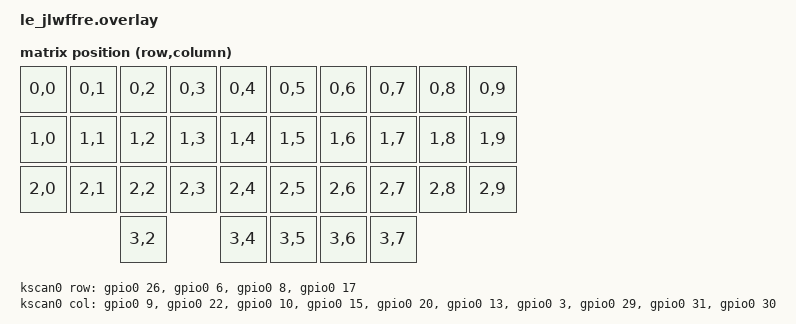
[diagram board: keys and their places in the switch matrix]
/*
 * SPDX-License-Identifier: MIT
 */

#include <dt-bindings/zmk/matrix_transform.h>

/ {
    aliases {
        cdc_acm_uart = &uart0;
    };
};

&uart0 {
    compatible = "zephyr,usb-cdc-acm";
    status = "okay";
    baudrate = <115200>;
    current-speed = <115200>;
};

/ {
    chosen {
        zmk,kscan = &kscan0;
        zmk,matrix_transform = &default_transform;
        zephyr,console = &uart0;
    };
};

/ {
    usb_hid: usb_hid {
        compatible = "zmk,usb-hid";
        status = "okay";
        label = "USB_HID";
    };

    default_transform: keymap_transform_0 {
        compatible = "zmk,matrix-transform";
        columns = <10>;
        rows = <4>;
        map = <
            RC(0,0) RC(0,1) RC(0,2) RC(0,3) RC(0,4) RC(0,5) RC(0,6) RC(0,7) RC(0,8) RC(0,9)
            RC(1,0) RC(1,1) RC(1,2) RC(1,3) RC(1,4) RC(1,5) RC(1,6) RC(1,7) RC(1,8) RC(1,9)
            RC(2,0) RC(2,1) RC(2,2) RC(2,3) RC(2,4) RC(2,5) RC(2,6) RC(2,7) RC(2,8) RC(2,9)
                                RC(3,2)         RC(3,4) RC(3,5) RC(3,6) RC(3,7)
        >;
    };

    kscan0: kscan {
        compatible = "zmk,kscan-gpio-matrix";
        label = "KSCAN";

        diode-direction = "col2row";
        row-gpios
            = <&gpio0 26 (GPIO_ACTIVE_HIGH | GPIO_PULL_DOWN)>
            , <&gpio0  6 (GPIO_ACTIVE_HIGH | GPIO_PULL_DOWN)>
            , <&gpio0  8 (GPIO_ACTIVE_HIGH | GPIO_PULL_DOWN)>
            , <&gpio0 17 (GPIO_ACTIVE_HIGH | GPIO_PULL_DOWN)>
            ;

        col-gpios
            = <&gpio0  9 GPIO_ACTIVE_HIGH>
            , <&gpio0 22 GPIO_ACTIVE_HIGH>
            , <&gpio0 10 GPIO_ACTIVE_HIGH>
            , <&gpio0 15 GPIO_ACTIVE_HIGH>
            , <&gpio0 20 GPIO_ACTIVE_HIGH>
            , <&gpio0 13 GPIO_ACTIVE_HIGH>
            , <&gpio0  3 GPIO_ACTIVE_HIGH>
            , <&gpio0 29 GPIO_ACTIVE_HIGH>
            , <&gpio0 31 GPIO_ACTIVE_HIGH>
            , <&gpio0 30 GPIO_ACTIVE_HIGH>
            ;
    };
};
